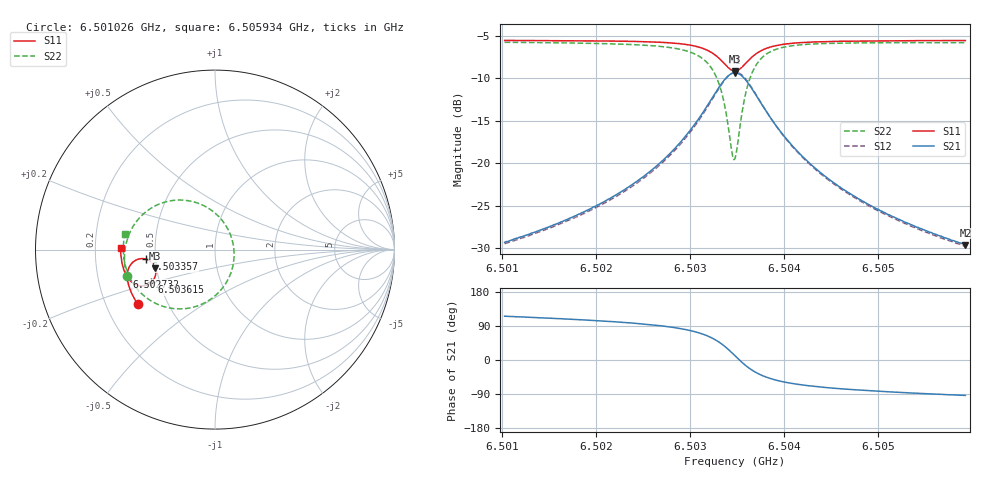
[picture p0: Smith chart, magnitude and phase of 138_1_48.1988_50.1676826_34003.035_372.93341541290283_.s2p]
#  HZ  S  RI  R  50.00
! Rohde & Schwarz Vector Network Analyzer
! Rohde-Schwarz,ZNB20-2Port,1311601062101988,3.16
! Created: UTC 3/20/2024, 11:42:11 AM
! freq[Hz]  re:S11  im:S11  re:S21  im:S21  re:S12  im:S12  re:S22  im:S22
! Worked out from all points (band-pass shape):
!   401 points, 6.501026 GHz to 6.505934 GHz, reference 50 ohm
!   highest |S21| = -9.37 dB at 6.50348 GHz (marker M1); lowest = -29.6 dB at 6.505934 GHz (marker M2)
!   |S21| within 3 dB of the highest: 6.503234 GHz to 6.503725 GHz (490.9 kHz wide, 0.00755 % of centre)
!   lowest |S11| = -9.2 dB at 6.50348 GHz (marker M3), VSWR 2.07, Z = 24.6 - j5.82 ohm
!   |S11| at or under -10 dB: nowhere
!   |S22| runs from -19.6 to -5.8 dB; largest |S21 - S12| = 0.012
!   S11 on the Smith chart (normalised r, x): 6.501026 GHz: 0.34, -0.28; 6.502732 GHz: 0.33, -0.14; 6.503357 GHz: 0.44, -0.05; 6.503615 GHz: 0.45, -0.19; 6.505934 GHz: 0.31, +0.01
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6.5010263e9  -0.4297 -0.3042  -0.0147 0.031  -0.0131 0.0311  -0.4924 -0.1464
6.5018483e9  -0.4644 -0.2427  -0.0142 0.0493  -0.0116 0.0487  -0.5041 -0.0576
6.5023145e9  -0.4806 -0.2007  -0.0107 0.0699  -0.00769 0.0685  -0.4997 0.0106
6.5026703e9  -0.4885 -0.1604  -0.00149 0.0992  0.00222 0.0968  -0.4792 0.0843
6.5027316e9  -0.4891 -0.1521  0.00176 0.1066  0.00536 0.1038  -0.4721 0.1004
6.5029524e9  -0.4854 -0.117  0.0239 0.142  0.0277 0.1377  -0.4257 0.1715
6.5031119e9  -0.4707 -0.0847  0.0635 0.178  0.0664 0.1722  -0.3486 0.2353
6.5032592e9  -0.4328 -0.0551  0.1456 0.207  0.1464 0.2006  -0.1986 0.2762
6.5033573e9  -0.3861 -0.0524  0.2376 0.1902  0.2377 0.1852  -0.0395 0.2324
6.5034432e9  -0.3432 -0.0818  0.316 0.1151  0.3184 0.1106  0.0855 0.084
6.5034677e9  -0.3351 -0.0961  0.3293 0.083  0.3325 0.0778  0.1024 0.0236
6.50348e9  -0.3323 -0.1039  0.3335 0.066  0.3371 0.0603  0.1061 -0.00811
6.5035045e9  -0.3294 -0.1202  0.3369 0.0312  0.3406 0.0242  0.1032 -0.0717
6.5035413e9  -0.3316 -0.1443  0.3295 -0.0191  0.3327 -0.0283  0.0755 -0.1609
6.503615e9  -0.3541 -0.1813  0.2824 -0.0956  0.282 -0.1072  -0.0356 -0.2841
6.5037254e9  -0.3997 -0.2013  0.1951 -0.1408  0.1896 -0.1506  -0.2126 -0.33
6.5038849e9  -0.447 -0.1917  0.1109 -0.1369  0.1037 -0.142  -0.3639 -0.2811
6.5040566e9  -0.4749 -0.1705  0.0654 -0.1157  0.0588 -0.1181  -0.4377 -0.214
6.504302e9  -0.4958 -0.1405  0.0347 -0.0905  0.0297 -0.091  -0.4818 -0.1404
6.5047069e9  -0.5125 -0.0979  0.0142 -0.0648  0.0108 -0.0643  -0.5056 -0.0584
6.505124e9  -0.5208 -0.0591  0.00517 -0.0496  0.00283 -0.0487  -0.5108 0.00124
6.5059337e9  -0.526 0.00971  -0.00198 -0.0331  -0.00331 -0.0324  -0.5033 0.0885
